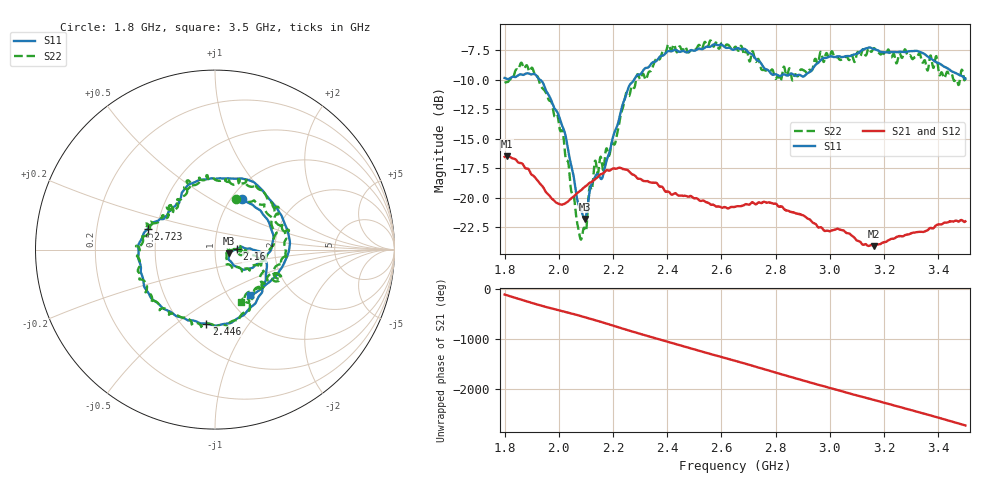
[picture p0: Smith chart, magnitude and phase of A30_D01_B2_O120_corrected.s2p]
! Created with skrf 1.9.0 (http://scikit-rf.org).
# Hz S RI R 50.0
!freq ReS11 ImS11 ReS21 ImS21 ReS12 ImS12 ReS22 ImS22
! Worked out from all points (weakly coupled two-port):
!   1601 points, 1.8 GHz to 3.5 GHz, reference 50 ohm
!   highest |S21| = -16.49 dB at 1.81 GHz (marker M1); lowest = -24.1 dB at 3.163 GHz (marker M2)
!   lowest |S11| = -21.8 dB at 2.095 GHz (marker M3), VSWR 1.18, Z = 58.5 - j2.46 ohm
!   |S11| at or under -10 dB: 1.931 GHz to 2.278 GHz (346.8 MHz wide, 16.5 % of centre)
!   |S22| runs from -23.5 to -6.7 dB; largest |S21 - S12| = 0.0029
!   S11 on the Smith chart (normalised r, x): 1.8 GHz: 1.12, +0.71; 2.16 GHz: 1.28, +0.01; 2.446 GHz: 0.65, -0.65; 2.723 GHz: 0.45, +0.12; 3.5 GHz: 1.26, -0.71
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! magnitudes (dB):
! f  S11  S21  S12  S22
! 1.8 GHz  -9.8  -16.5  -16.5  -10.3
! 1.81 GHz  -9.9  -16.5  -16.5  -10.2
! 1.88 GHz  -9.5  -17.5  -17.5  -8.8
! 1.969 GHz  -11.6  -19.9  -19.9  -11.8
! 2.014 GHz  -14.0  -20.6  -20.6  -14.3
! 2.072 GHz  -20.5  -19.5  -19.6  -22.6
! 2.084 GHz  -21.1  -19.3  -19.3  -23.4
! 2.095 GHz  -21.8  -19.1  -19.1  -22.6
! 2.131 GHz  -18.3  -18.5  -18.5  -17.1
! 2.16 GHz  -18.3  -18.0  -17.9  -17.3
! 2.209 GHz  -14.2  -17.5  -17.5  -15.3
! 2.259 GHz  -10.5  -17.7  -17.8  -11.4
! 2.367 GHz  -8.2  -18.9  -18.9  -8.2
! 2.446 GHz  -7.6  -19.8  -19.8  -7.2
! 2.65 GHz  -7.4  -20.7  -20.7  -7.2
! 2.723 GHz  -8.1  -20.5  -20.5  -8.3
! 2.813 GHz  -9.7  -20.7  -20.7  -9.8
! 2.934 GHz  -9.2  -22.0  -22.0  -9.2
! 3.163 GHz  -7.4  -24.1  -24.0  -7.3
! 3.217 GHz  -7.7  -23.6  -23.6  -7.5
! 3.328 GHz  -7.6  -22.9  -22.9  -7.8
! 3.5 GHz  -9.9  -22.0  -22.0  -9.7
